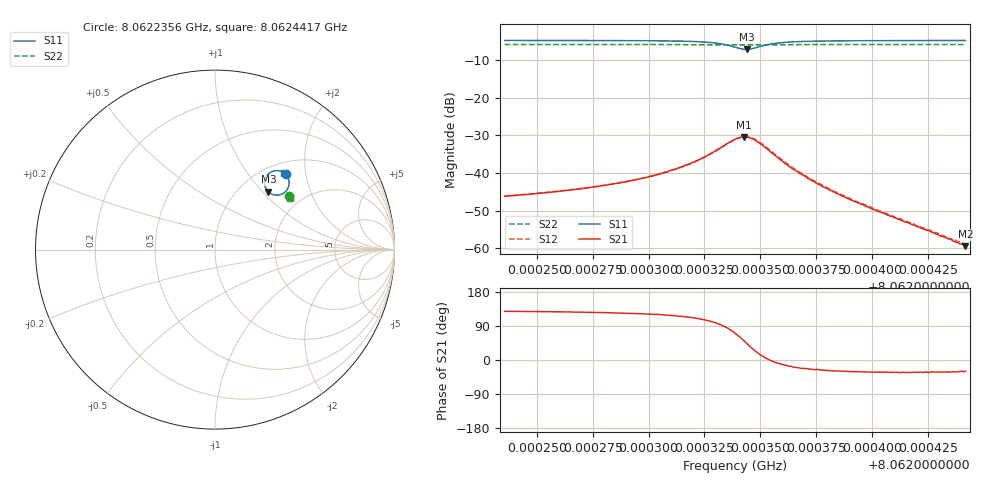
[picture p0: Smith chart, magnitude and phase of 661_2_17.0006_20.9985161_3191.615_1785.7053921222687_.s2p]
#  HZ  S  RI  R  50.00
! Rohde & Schwarz Vector Network Analyzer
! Rohde-Schwarz,ZNB20-2Port,1311601062101988,3.16
! Created: UTC 3/20/2024, 11:21:45 PM
! freq[Hz]  re:S11  im:S11  re:S21  im:S21  re:S12  im:S12  re:S22  im:S22
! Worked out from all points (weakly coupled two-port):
!   401 points, 8.0622356 GHz to 8.0624417 GHz, reference 50 ohm
!   highest |S21| = -30.41 dB at 8.0623428 GHz (marker M1); lowest = -59.4 dB at 8.0624417 GHz (marker M2)
!   lowest |S11| = -7.2 dB at 8.0623438 GHz (marker M3), VSWR 2.56, Z = 67.6 + j53.9 ohm
!   |S11| at or under -10 dB: nowhere
!   |S22| runs from -6.0 to -5.9 dB; largest |S21 - S12| = 0.0012
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8.06223561e9  0.394 0.4199  -0.00305 0.00382  -0.00282 0.00404  0.412 0.2983
8.06224952e9  0.396 0.4176  -0.00324 0.0042  -0.003 0.00441  0.4125 0.2976
8.06227013e9  0.3994 0.413  -0.00368 0.00502  -0.00338 0.00523  0.4133 0.2965
8.06229023e9  0.4041 0.4059  -0.00424 0.0064  -0.00387 0.00671  0.414 0.295
8.06230466e9  0.4085 0.3967  -0.00488 0.00843  -0.00425 0.00865  0.4146 0.2939
8.06231445e9  0.4118 0.3853  -0.00507 0.0108  -0.00445 0.011  0.4148 0.2929
8.06232115e9  0.413 0.3726  -0.00507 0.0135  -0.00417 0.0137  0.415 0.292
8.06232681e9  0.4112 0.3559  -0.00407 0.0169  -0.00324 0.0171  0.415 0.2911
8.06233197e9  0.4016 0.3338  -0.00139 0.0214  -0.000483 0.0212  0.4143 0.2901
8.06233867e9  0.3568 0.3043  0.00908 0.0263  0.00959 0.0261  0.4124 0.2891
8.06234279e9  0.3078 0.3137  0.0194 0.0231  0.0198 0.0229  0.4108 0.2899
8.06234382e9  0.2971 0.3222  0.0216 0.021  0.022 0.0209  0.4102 0.2902
8.06234588e9  0.2815 0.3443  0.0244 0.0157  0.025 0.0158  0.4098 0.2912
8.06234794e9  0.2759 0.3686  0.0249 0.0104  0.0258 0.0102  0.41 0.2923
8.06235155e9  0.2835 0.4034  0.0224 0.00311  0.0232 0.00252  0.4107 0.2936
8.06235515e9  0.2995 0.4236  0.0185 -0.000742  0.0191 -0.00171  0.4118 0.294
8.0623634e9  0.3302 0.4391  0.0114 -0.00336  0.0117 -0.00417  0.4137 0.294
8.06237319e9  0.3507 0.4401  0.0072 -0.0033  0.00725 -0.0038  0.4149 0.2933
8.06238556e9  0.3642 0.4376  0.00448 -0.00252  0.00444 -0.00286  0.416 0.2924
8.06239432e9  0.3698 0.4355  0.00339 -0.00202  0.00334 -0.00228  0.4165 0.2919
8.06240771e9  0.3761 0.4329  0.0023 -0.00145  0.00226 -0.00163  0.417 0.2911
8.06244172e9  0.3846 0.4278  0.000928 -0.000526  0.000937 -0.000594  0.4185 0.289
